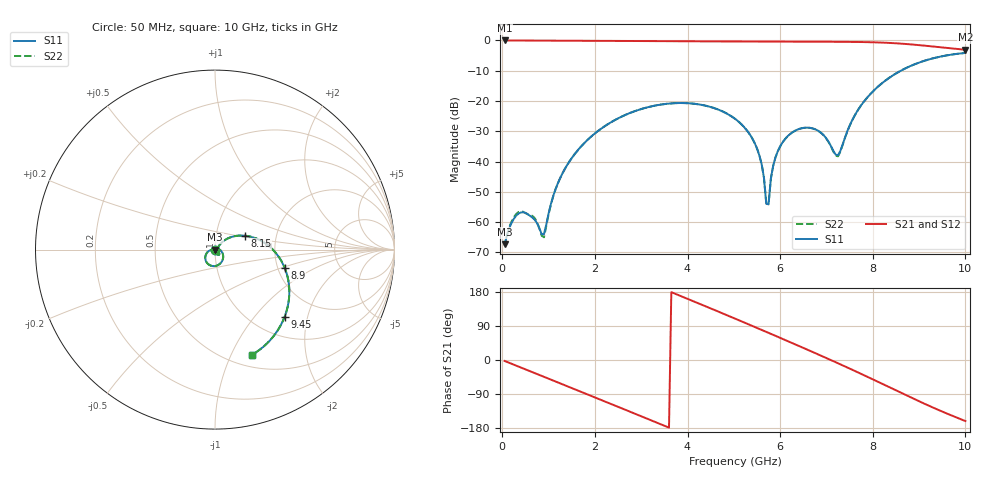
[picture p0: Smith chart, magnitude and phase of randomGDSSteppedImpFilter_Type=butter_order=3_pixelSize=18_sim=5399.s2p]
! freq	dB(S11)	phase(S11)	dB(S12)	phase(S12)
!  dB(S21)	phase(S21)	dB(S22)	phase(S22)
!S-par simulation data
#  GHz  S  DB  R 50
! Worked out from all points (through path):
!   200 points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, 50 MHz to 10 GHz, reference 50 ohm
!   highest |S21| = 0.00 dB at 50 MHz (marker M1); lowest = -3.1 dB at 10 GHz (marker M2)
!   group delay of S21, straight-line fit = 145 ps
!   lowest |S11| = -67.4 dB at 50 MHz (marker M3), VSWR 1.00, Z = 50 - j0.0116 ohm
!   |S11| at or under -10 dB: start of sweep to 8.605 GHz
!   |S22| runs from -68.0 to -4.1 dB; largest |S21 - S12| = 0
!   S11 on the Smith chart (normalised r, x): 50 MHz: 1.00, -0.00; 8.15 GHz: 1.38, +0.22; 8.9 GHz: 2.18, -0.54; 9.45 GHz: 1.38, -1.45; 10 GHz: 0.63, -1.20
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0.05  -67.35 -15.7  -0.00 -2.5  -0.00 -2.5  -67.97 -14.0
0.4  -56.84 -96.2  -0.03 -19.8  -0.03 -19.8  -56.45 -92.8
0.9  -64.00 124.8  -0.05 -44.4  -0.05 -44.4  -65.02 126.7
1.2  -47.19 43.8  -0.07 -59.2  -0.07 -59.2  -47.21 43.4
1.75  -34.23 8.5  -0.10 -86.4  -0.10 -86.4  -34.23 8.4
2.5  -25.75 -31.0  -0.16 -123.6  -0.16 -123.6  -25.75 -31.0
3.4  -21.24 -76.3  -0.24 -168.5  -0.24 -168.5  -21.25 -76.4
4.2  -21.03 -116.1  -0.30 151.4  -0.30 151.4  -21.03 -116.1
5.05  -26.18 -157.9  -0.34 108.0  -0.34 108.0  -26.17 -157.8
5.5  -35.69 -178.7  -0.35 84.7  -0.35 84.7  -35.67 -178.3
5.7  -53.98 -158.6  -0.36 74.2  -0.36 74.2  -53.61 -156.3
5.75  -54.16 -46.8  -0.36 71.6  -0.36 71.6  -53.81 -51.7
5.85  -41.35 -22.4  -0.37 66.4  -0.37 66.4  -41.36 -23.8
6  -34.99 -27.4  -0.37 58.5  -0.37 58.5  -35.00 -28.2
6.7  -29.04 -56.5  -0.42 21.3  -0.42 21.3  -29.07 -57.1
7.25  -37.88 -2.7  -0.45 -8.6  -0.45 -8.6  -38.27 -2.4
7.65  -23.73 45.3  -0.50 -31.0  -0.50 -31.0  -23.75 45.8
8.15  -14.75 25.0  -0.68 -59.7  -0.68 -59.7  -14.76 25.2
8.35  -12.40 14.7  -0.81 -71.4  -0.81 -71.4  -12.40 14.8
8.9  -7.90 -15.0  -1.40 -103.3  -1.40 -103.3  -7.90 -14.9
9.45  -5.37 -43.9  -2.26 -133.5  -2.26 -133.5  -5.37 -43.9
10  -4.13 -70.6  -3.08 -161.1  -3.08 -161.1  -4.13 -70.6
